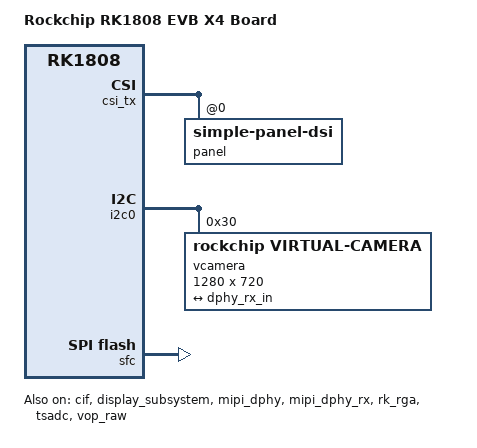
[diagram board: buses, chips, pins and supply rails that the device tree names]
// SPDX-License-Identifier: (GPL-2.0+ OR MIT)
/*
 * Copyright (c) 2018 Fuzhou Rockchip Electronics Co., Ltd
 */

/dts-v1/;
#include <dt-bindings/display/drm_mipi_dsi.h>
#include "rk1808-evb.dtsi"

/ {
	model = "Rockchip RK1808 EVB X4 Board";
	compatible = "rockchip,rk1808-evb-x4", "rockchip,rk1808";

	chosen {
		bootargs = "earlycon=uart8250,mmio32,0xff550000 console=ttyFIQ0 dump_initrd init=/init swiotlb=1 kpti=0";
	};
};

&adc_key {
	power-key {
		linux,code = <KEY_POWER>;
		label = "power key";
		press-threshold-microvolt = <18000>;
	};
};

/delete-node/ &backlight;
/delete-node/ &vcc1v8_dvp;
/delete-node/ &vdd1v5_dvp;
/delete-node/ &vcc2v8_dvp;

&cif {
	status = "okay";

	port {
		cif_in: endpoint@0 {
			remote-endpoint = <&dphy_rx_out>;
			data-lanes = <1 2 3 4>;
		};
	};
};

&cif_mmu {
	status = "okay";
};

&cru {
	assigned-clocks =
		<&cru PLL_GPLL>, <&cru PLL_CPLL>,
		<&cru PLL_PPLL>, <&cru ARMCLK>,
		<&cru MSCLK_PERI>, <&cru LSCLK_PERI>,
		<&cru HSCLK_BUS_PRE>, <&cru MSCLK_BUS_PRE>,
		<&cru LSCLK_BUS_PRE>, <&cru DCLK_VOPRAW>;
	assigned-clock-rates =
		<1188000000>, <1000000000>,
		<100000000>, <816000000>,
		<200000000>, <100000000>,
		<300000000>, <200000000>,
		<100000000>, <80000000>;
};

&csi_tx {
	status = "okay";

	panel@0 {
		compatible = "simple-panel-dsi";
		reg = <0>;
		dsi,flags = <(MIPI_DSI_MODE_VIDEO | MIPI_DSI_MODE_VIDEO_BURST |
			      MIPI_DSI_MODE_LPM | MIPI_DSI_MODE_EOT_PACKET |
			      MIPI_DSI_CLOCK_NON_CONTINUOUS)>;
		dsi,format = <MIPI_CSI_FMT_RAW8>;
		dsi,lanes = <4>;

		display-timings {
			native-mode = <&timing_1280x3_720>;

			timing_1280x3_720: timing-1280x3-720 {
				clock-frequency = <80000000>;
				hactive = <3840>;
				vactive = <720>;
				hfront-porch = <1200>;
				hsync-len = <500>;
				hback-porch = <30>;
				vfront-porch = <40>;
				vsync-len = <20>;
				vback-porch = <40>;
				hsync-active = <0>;
				vsync-active = <0>;
				de-active = <0>;
				pixelclk-active = <0>;
			};
			timing_4k: timing-4k {
				clock-frequency = <250000000>;
				hactive = <3840>;
				vactive = <2160>;
				hfront-porch = <1500>;
				hsync-len = <500>;
				hback-porch = <30>;
				vfront-porch = <40>;
				vsync-len = <20>;
				vback-porch = <40>;
				hsync-active = <0>;
				vsync-active = <0>;
				de-active = <0>;
				pixelclk-active = <0>;
			};
			timing_4096: timing-4096 {
				clock-frequency = <190000000>;
				hactive = <4096>;
				vactive = <2048>;
				hfront-porch = <1500>;
				hsync-len = <500>;
				hback-porch = <30>;
				vfront-porch = <40>;
				vsync-len = <20>;
				vback-porch = <40>;
				hsync-active = <0>;
				vsync-active = <0>;
				de-active = <0>;
				pixelclk-active = <0>;
			};
			timing_1920x3_1080: timing-1920x3-1080 {
				clock-frequency = <250000000>;
				hactive = <5760>;
				vactive = <1080>;
				hfront-porch = <1500>;
				hsync-len = <70>;
				hback-porch = <30>;
				vfront-porch = <40>;
				vsync-len = <20>;
				vback-porch = <40>;
				hsync-active = <0>;
				vsync-active = <0>;
				de-active = <0>;
				pixelclk-active = <0>;
			};
		};
	};
};

&display_subsystem {
	status = "okay";
};

&emmc {
	status = "disabled";
};

&gmac {
	status = "disabled";
};

&i2c0 {
	status = "okay";

	vcamera@30 {
		compatible = "rockchip,virtual-camera";
		reg = <0x30>;
		width = <1280>;
		height = <720>;
		bus-format = <MEDIA_BUS_FMT_RGB888_1X24>;

		port {
			vcamera_out: endpoint {
				remote-endpoint = <&dphy_rx_in>;
				link-frequencies = /bits/ 64 <320000000>;
			};
		};
	};
};

&i2c1 {
	status = "disabled";
};

&i2c4 {
	status = "disabled";
};

&mipi_dphy {
	status = "okay";
};

&mipi_dphy_rx {
	status = "okay";

	ports {
		#address-cells = <1>;
		#size-cells = <0>;

		port@0 {
			reg = <0>;
			#address-cells = <1>;
			#size-cells = <0>;

			dphy_rx_in: endpoint@1 {
				reg = <1>;
				remote-endpoint = <&vcamera_out>;
				data-lanes = <1 2 3 4>;
			};
		};

		port@1 {
			reg = <1>;
			#address-cells = <1>;
			#size-cells = <0>;

			dphy_rx_out: endpoint@0 {
				reg = <0>;
				remote-endpoint = <&cif_in>;
			};
		};
	};
};

&rk809_codec {
	status = "disabled";
};

&rk_rga {
	status = "okay";
};

&route_csi {
	status = "disabled";
};

&sdmmc {
	status = "disabled";
};

&sdio {
	status = "disabled";
};

&sfc {
	status = "okay";
};

&uart4 {
	status = "disabled";
};

&wireless_bluetooth {
	status = "disabled";
};

&wireless_wlan {
	status = "disabled";
};

&tsadc {
	rockchip,hw-tshut-mode = <1>; /* tshut mode 0:CRU 1:GPIO */
	rockchip,hw-tshut-polarity = <0>; /* tshut polarity 0:LOW 1:HIGH */
	pinctrl-names = "init", "default";
	pinctrl-0 = <&tsadc_otp_gpio>;
	pinctrl-1 = <&tsadc_otp_out>;
	status = "okay";
};

&vop_raw {
	status = "okay";
};

&vopr_mmu {
	status = "okay";
};

&vpu_mmu {
	status = "okay";
};
